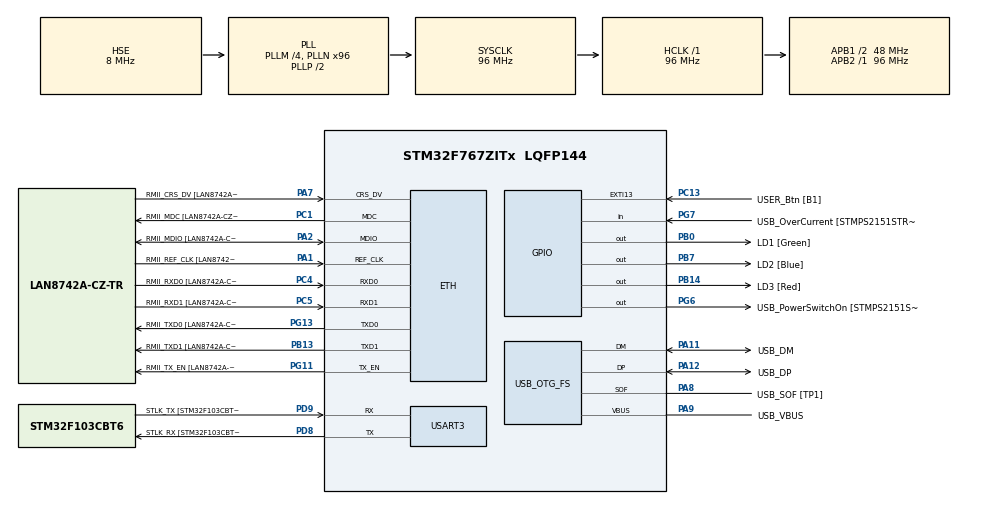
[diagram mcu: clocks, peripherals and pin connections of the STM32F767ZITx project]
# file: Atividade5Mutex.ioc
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ETH.MediaInterface=HAL_ETH_RMII_MODE
ETH.PHY_Name=LAN8742A_PHY_ADDRESS
ETH.PHY_Value=0
ETH.PhyAddress=0
FREERTOS.Mutexes01=MeuMutexHandle,Dynamic,NULL,Available
FREERTOS.Tasks01=Tarefa3Handle,24,128,Tarefa3_Handle,Default,NULL,Dynamic,NULL,NULL;Tarefa1Handle,24,128,Tarefa1_Handle,Default,NULL,Dynamic,NULL,NULL;Tarefa2Handle,24,128,Tarefa2_Handle,Default,NULL,Dynamic,NULL,NULL
FREERTOS.configUSE_NEWLIB_REENTRANT=1
Mcu.Family=STM32F7
Mcu.Name=STM32F767ZITx
Mcu.Package=LQFP144
NVIC.PriorityGroup=NVIC_PRIORITYGROUP_4
PA1.GPIO_Label=RMII_REF_CLK [LAN8742A-CZ-TR_REFCLK0]
PA1.Mode=RMII
PA1.Signal=ETH_REF_CLK
PA10.GPIO_Label=USB_ID
PA10.Signal=USB_OTG_FS_ID
PA11.GPIO_Label=USB_DM
PA11.Mode=Device_Only
PA11.Signal=USB_OTG_FS_DM
PA12.GPIO_Label=USB_DP
PA12.Mode=Device_Only
PA12.Signal=USB_OTG_FS_DP
PA13.GPIO_Label=TMS
PA13.Mode=Serial_Wire
PA13.Signal=SYS_JTMS-SWDIO
PA14.GPIO_Label=TCK
PA14.Mode=Serial_Wire
PA14.Signal=SYS_JTCK-SWCLK
PA2.GPIO_Label=RMII_MDIO [LAN8742A-CZ-TR_MDIO]
PA2.Mode=RMII
PA2.Signal=ETH_MDIO
PA7.GPIO_Label=RMII_CRS_DV [LAN8742A-CZ-TR_CRS_DV]
PA7.Mode=RMII
PA7.Signal=ETH_CRS_DV
PA8.GPIO_Label=USB_SOF [TP1]
PA8.Mode=Activate_SOF_FS
PA8.Signal=USB_OTG_FS_SOF
PA9.GPIO_Label=USB_VBUS
PA9.Mode=Activate_VBUS
PA9.Signal=USB_OTG_FS_VBUS
PB0.GPIO_Label=LD1 [Green]
PB0.Signal=GPIO_Output
PB13.GPIO_Label=RMII_TXD1 [LAN8742A-CZ-TR_TXD1]
PB13.Mode=RMII
PB13.Signal=ETH_TXD1
PB14.GPIO_Label=LD3 [Red]
PB14.Signal=GPIO_Output
PB3.GPIO_Label=SWO
PB3.Signal=SYS_JTDO-SWO
PB7.GPIO_Label=LD2 [Blue]
PB7.Signal=GPIO_Output
PC1.GPIO_Label=RMII_MDC [LAN8742A-CZ-TR_MDC]
PC1.Mode=RMII
PC1.Signal=ETH_MDC
PC13.GPIO_Label=USER_Btn [B1]
PC13.Signal=GPXTI13
PC14/OSC32_IN.Mode=LSE-External-Oscillator
PC14/OSC32_IN.Signal=RCC_OSC32_IN
PC15/OSC32_OUT.Mode=LSE-External-Oscillator
PC15/OSC32_OUT.Signal=RCC_OSC32_OUT
PC4.GPIO_Label=RMII_RXD0 [LAN8742A-CZ-TR_RXD0]
PC4.Mode=RMII
PC4.Signal=ETH_RXD0
PC5.GPIO_Label=RMII_RXD1 [LAN8742A-CZ-TR_RXD1]
PC5.Mode=RMII
PC5.Signal=ETH_RXD1
PD8.GPIO_Label=STLK_RX [STM32F103CBT6_PA3]
PD8.Mode=Asynchronous
PD8.Signal=USART3_TX
PD9.GPIO_Label=STLK_TX [STM32F103CBT6_PA2]
PD9.Mode=Asynchronous
PD9.Signal=USART3_RX
PG11.GPIO_Label=RMII_TX_EN [LAN8742A-CZ-TR_TXEN]
PG11.Mode=RMII
PG11.Signal=ETH_TX_EN
PG13.GPIO_Label=RMII_TXD0 [LAN8742A-CZ-TR_TXD0]
PG13.Mode=RMII
PG13.Signal=ETH_TXD0
PG6.GPIO_Label=USB_PowerSwitchOn [STMPS2151STR_EN]
PG6.Signal=GPIO_Output
PG7.GPIO_Label=USB_OverCurrent [STMPS2151STR_FAULT]
PG7.Signal=GPIO_Input
PH0/OSC_IN.GPIO_Label=MCO [STM32F103CBT6_PA8]
PH0/OSC_IN.Mode=HSE-External-Clock-Source
PH0/OSC_IN.Signal=RCC_OSC_IN
PH1/OSC_OUT.Mode=HSE-External-Clock-Source
PH1/OSC_OUT.Signal=RCC_OSC_OUT
ProjectManager.HeapSize=0x200
ProjectManager.StackSize=0x400
ProjectManager.TargetToolchain=STM32CubeIDE
RCC.48MHZClocksFreq_Value=24000000
RCC.AHBFreq_Value=96000000
RCC.APB1CLKDivider=RCC_HCLK_DIV2
RCC.APB1Freq_Value=48000000
RCC.APB1TimFreq_Value=96000000
RCC.APB2Freq_Value=96000000
RCC.APB2TimFreq_Value=96000000
RCC.CortexFreq_Value=96000000
RCC.HCLKFreq_Value=96000000
RCC.HSE_VALUE=8000000
RCC.HSI_VALUE=16000000
RCC.PLLM=4
RCC.PLLMUL=RCC_PLL_MUL9
RCC.PLLN=96
RCC.PLLQ=4
RCC.PRESCALERUSB=RCC_USBCLKSOURCE_PLL_DIV1_5
RCC.SYSCLKFreq_VALUE=96000000
RCC.SYSCLKSource=RCC_SYSCLKSOURCE_PLLCLK
RCC.SYSCLKSourceVirtual=RCC_SYSCLKSOURCE_PLLCLK
RCC.USBFreq_Value=48000000
RCC.VCOOutputFreq_Value=192000000
USART3.VirtualMode-Asynchronous=VM_ASYNC
USB_OTG_FS.VirtualMode=Device_Only
VP_FREERTOS_VS_CMSIS_V2.Mode=CMSIS_V2
board=NUCLEO-F767ZI

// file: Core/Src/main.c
/* USER CODE BEGIN Header */
/**
  ******************************************************************************
  * @file           : main.c
  * @brief          : Main program body
  ******************************************************************************
  * @attention
  *
  * Copyright (c) 2025 STMicroelectronics.
  * All rights reserved.
  *
  * This software is licensed under terms that can be found in the LICENSE file
  * in the root directory of this software component.
  * If no LICENSE file comes with this software, it is provided AS-IS.
  *
  ******************************************************************************
  */
/* USER CODE END Header */
#include "main.h"
#include "string.h"
#include "cmsis_os.h"

/* USER CODE BEGIN Includes */
#include <stdio.h>

/* USER CODE END Includes */

#if defined ( __ICCARM__ ) /*!< IAR Compiler */
#pragma location=0x2007c000
ETH_DMADescTypeDef  DMARxDscrTab[ETH_RX_DESC_CNT]; /* Ethernet Rx DMA Descriptors */
#pragma location=0x2007c0a0
ETH_DMADescTypeDef  DMATxDscrTab[ETH_TX_DESC_CNT]; /* Ethernet Tx DMA Descriptors */

#elif defined ( __CC_ARM )  /* MDK ARM Compiler */

__attribute__((at(0x2007c000))) ETH_DMADescTypeDef  DMARxDscrTab[ETH_RX_DESC_CNT]; /* Ethernet Rx DMA Descriptors */
__attribute__((at(0x2007c0a0))) ETH_DMADescTypeDef  DMATxDscrTab[ETH_TX_DESC_CNT]; /* Ethernet Tx DMA Descriptors */

#elif defined ( __GNUC__ ) /* GNU Compiler */

ETH_DMADescTypeDef DMARxDscrTab[ETH_RX_DESC_CNT] __attribute__((section(".RxDecripSection"))); /* Ethernet Rx DMA Descriptors */
ETH_DMADescTypeDef DMATxDscrTab[ETH_TX_DESC_CNT] __attribute__((section(".TxDecripSection")));   /* Ethernet Tx DMA Descriptors */
#endif

ETH_TxPacketConfig TxConfig;

ETH_HandleTypeDef heth;

UART_HandleTypeDef huart3;

PCD_HandleTypeDef hpcd_USB_OTG_FS;

/* Definitions for Tarefa3Handle */
osThreadId_t Tarefa3HandleHandle;
const osThreadAttr_t Tarefa3Handle_attributes = {
  .name = "Tarefa3Handle",
  .stack_size = 128 * 4,
  .priority = (osPriority_t) osPriorityNormal,
};
/* Definitions for Tarefa1Handle */
osThreadId_t Tarefa1HandleHandle;
const osThreadAttr_t Tarefa1Handle_attributes = {
  .name = "Tarefa1Handle",
  .stack_size = 128 * 4,
  .priority = (osPriority_t) osPriorityNormal,
};
/* Definitions for Tarefa2Handle */
osThreadId_t Tarefa2HandleHandle;
const osThreadAttr_t Tarefa2Handle_attributes = {
  .name = "Tarefa2Handle",
  .stack_size = 128 * 4,
  .priority = (osPriority_t) osPriorityNormal,
};
/* Definitions for MeuMutexHandle */
osMutexId_t MeuMutexHandleHandle;
const osMutexAttr_t MeuMutexHandle_attributes = {
  .name = "MeuMutexHandle"
};
/* USER CODE BEGIN PV */
int __io_putchar(int ch);

uint8_t task2Cont = 0;

/* USER CODE END PV */

void SystemClock_Config(void);
static void MX_GPIO_Init(void);
static void MX_ETH_Init(void);
static void MX_USART3_UART_Init(void);
static void MX_USB_OTG_FS_PCD_Init(void);
void Tarefa3_Handle(void *argument);
void Tarefa1_Handle(void *argument);
void Tarefa2_Handle(void *argument);

int main(void)
{

  /* MCU Configuration--------------------------------------------------------*/

  /* Reset of all peripherals, Initializes the Flash interface and the Systick. */
  HAL_Init();

  /* Configure the system clock */
  SystemClock_Config();

  /* Initialize all configured peripherals */
  MX_GPIO_Init();
  MX_ETH_Init();
  MX_USART3_UART_Init();
  MX_USB_OTG_FS_PCD_Init();

  /* Init scheduler */
  osKernelInitialize();
  /* Create the mutex(es) */
  /* creation of MeuMutexHandle */
  MeuMutexHandleHandle = osMutexNew(&MeuMutexHandle_attributes);

  /* Create the thread(s) */
  /* creation of Tarefa3Handle */
  Tarefa3HandleHandle = osThreadNew(Tarefa3_Handle, NULL, &Tarefa3Handle_attributes);

  /* creation of Tarefa1Handle */
  Tarefa1HandleHandle = osThreadNew(Tarefa1_Handle, NULL, &Tarefa1Handle_attributes);

  /* creation of Tarefa2Handle */
  Tarefa2HandleHandle = osThreadNew(Tarefa2_Handle, NULL, &Tarefa2Handle_attributes);

  /* Start scheduler */
  osKernelStart();

  /* We should never get here as control is now taken by the scheduler */

  /* Infinite loop */
  while (1)
  {

  }
}

void SystemClock_Config(void)
{
  RCC_OscInitTypeDef RCC_OscInitStruct = {0};
  RCC_ClkInitTypeDef RCC_ClkInitStruct = {0};

  /** Configure LSE Drive Capability
  */
  HAL_PWR_EnableBkUpAccess();

  /** Configure the main internal regulator output voltage
  */
  __HAL_RCC_PWR_CLK_ENABLE();
  __HAL_PWR_VOLTAGESCALING_CONFIG(PWR_REGULATOR_VOLTAGE_SCALE3);

  /** Initializes the RCC Oscillators according to the specified parameters
  * in the RCC_OscInitTypeDef structure.
  */
  RCC_OscInitStruct.OscillatorType = RCC_OSCILLATORTYPE_HSE;
  RCC_OscInitStruct.HSEState = RCC_HSE_BYPASS;
  RCC_OscInitStruct.PLL.PLLState = RCC_PLL_ON;
  RCC_OscInitStruct.PLL.PLLSource = RCC_PLLSOURCE_HSE;
  RCC_OscInitStruct.PLL.PLLM = 4;
  RCC_OscInitStruct.PLL.PLLN = 96;
  RCC_OscInitStruct.PLL.PLLP = RCC_PLLP_DIV2;
  RCC_OscInitStruct.PLL.PLLQ = 4;
  RCC_OscInitStruct.PLL.PLLR = 2;
  if (HAL_RCC_OscConfig(&RCC_OscInitStruct) != HAL_OK)
  {
    Error_Handler();
  }

  /** Activate the Over-Drive mode
  */
  if (HAL_PWREx_EnableOverDrive() != HAL_OK)
  {
    Error_Handler();
  }

  /** Initializes the CPU, AHB and APB buses clocks
  */
  RCC_ClkInitStruct.ClockType = RCC_CLOCKTYPE_HCLK|RCC_CLOCKTYPE_SYSCLK
                              |RCC_CLOCKTYPE_PCLK1|RCC_CLOCKTYPE_PCLK2;
  RCC_ClkInitStruct.SYSCLKSource = RCC_SYSCLKSOURCE_PLLCLK;
  RCC_ClkInitStruct.AHBCLKDivider = RCC_SYSCLK_DIV1;
  RCC_ClkInitStruct.APB1CLKDivider = RCC_HCLK_DIV2;
  RCC_ClkInitStruct.APB2CLKDivider = RCC_HCLK_DIV1;

  if (HAL_RCC_ClockConfig(&RCC_ClkInitStruct, FLASH_LATENCY_3) != HAL_OK)
  {
    Error_Handler();
  }
}

static void MX_ETH_Init(void)
{

   static uint8_t MACAddr[6];

  heth.Instance = ETH;
  MACAddr[0] = 0x00;
  MACAddr[1] = 0x80;
  MACAddr[2] = 0xE1;
  MACAddr[3] = 0x00;
  MACAddr[4] = 0x00;
  MACAddr[5] = 0x00;
  heth.Init.MACAddr = &MACAddr[0];
  heth.Init.MediaInterface = HAL_ETH_RMII_MODE;
  heth.Init.TxDesc = DMATxDscrTab;
  heth.Init.RxDesc = DMARxDscrTab;
  heth.Init.RxBuffLen = 1524;

  if (HAL_ETH_Init(&heth) != HAL_OK)
  {
    Error_Handler();
  }

  memset(&TxConfig, 0 , sizeof(ETH_TxPacketConfig));
  TxConfig.Attributes = ETH_TX_PACKETS_FEATURES_CSUM | ETH_TX_PACKETS_FEATURES_CRCPAD;
  TxConfig.ChecksumCtrl = ETH_CHECKSUM_IPHDR_PAYLOAD_INSERT_PHDR_CALC;
  TxConfig.CRCPadCtrl = ETH_CRC_PAD_INSERT;

}

static void MX_USART3_UART_Init(void)
{

  huart3.Instance = USART3;
  huart3.Init.BaudRate = 115200;
  huart3.Init.WordLength = UART_WORDLENGTH_8B;
  huart3.Init.StopBits = UART_STOPBITS_1;
  huart3.Init.Parity = UART_PARITY_NONE;
  huart3.Init.Mode = UART_MODE_TX_RX;
  huart3.Init.HwFlowCtl = UART_HWCONTROL_NONE;
  huart3.Init.OverSampling = UART_OVERSAMPLING_16;
  huart3.Init.OneBitSampling = UART_ONE_BIT_SAMPLE_DISABLE;
  huart3.AdvancedInit.AdvFeatureInit = UART_ADVFEATURE_NO_INIT;
  if (HAL_UART_Init(&huart3) != HAL_OK)
  {
    Error_Handler();
  }

}

static void MX_USB_OTG_FS_PCD_Init(void)
{

  hpcd_USB_OTG_FS.Instance = USB_OTG_FS;
  hpcd_USB_OTG_FS.Init.dev_endpoints = 6;
  hpcd_USB_OTG_FS.Init.speed = PCD_SPEED_FULL;
  hpcd_USB_OTG_FS.Init.dma_enable = DISABLE;
  hpcd_USB_OTG_FS.Init.phy_itface = PCD_PHY_EMBEDDED;
  hpcd_USB_OTG_FS.Init.Sof_enable = ENABLE;
  hpcd_USB_OTG_FS.Init.low_power_enable = DISABLE;
  hpcd_USB_OTG_FS.Init.lpm_enable = DISABLE;
  hpcd_USB_OTG_FS.Init.vbus_sensing_enable = ENABLE;
  hpcd_USB_OTG_FS.Init.use_dedicated_ep1 = DISABLE;
  if (HAL_PCD_Init(&hpcd_USB_OTG_FS) != HAL_OK)
  {
    Error_Handler();
  }

}

static void MX_GPIO_Init(void)
{
  GPIO_InitTypeDef GPIO_InitStruct = {0};

  /* GPIO Ports Clock Enable */
  __HAL_RCC_GPIOC_CLK_ENABLE();
  __HAL_RCC_GPIOH_CLK_ENABLE();
  __HAL_RCC_GPIOA_CLK_ENABLE();
  __HAL_RCC_GPIOB_CLK_ENABLE();
  __HAL_RCC_GPIOD_CLK_ENABLE();
  __HAL_RCC_GPIOG_CLK_ENABLE();

  /*Configure GPIO pin Output Level */
  HAL_GPIO_WritePin(GPIOB, LD1_Pin|LD3_Pin|LD2_Pin, GPIO_PIN_RESET);

  /*Configure GPIO pin Output Level */
  HAL_GPIO_WritePin(USB_PowerSwitchOn_GPIO_Port, USB_PowerSwitchOn_Pin, GPIO_PIN_RESET);

  /*Configure GPIO pin : USER_Btn_Pin */
  GPIO_InitStruct.Pin = USER_Btn_Pin;
  GPIO_InitStruct.Mode = GPIO_MODE_IT_RISING;
  GPIO_InitStruct.Pull = GPIO_NOPULL;
  HAL_GPIO_Init(USER_Btn_GPIO_Port, &GPIO_InitStruct);

  /*Configure GPIO pins : LD1_Pin LD3_Pin LD2_Pin */
  GPIO_InitStruct.Pin = LD1_Pin|LD3_Pin|LD2_Pin;
  GPIO_InitStruct.Mode = GPIO_MODE_OUTPUT_PP;
  GPIO_InitStruct.Pull = GPIO_NOPULL;
  GPIO_InitStruct.Speed = GPIO_SPEED_FREQ_LOW;
  HAL_GPIO_Init(GPIOB, &GPIO_InitStruct);

  /*Configure GPIO pin : USB_PowerSwitchOn_Pin */
  GPIO_InitStruct.Pin = USB_PowerSwitchOn_Pin;
  GPIO_InitStruct.Mode = GPIO_MODE_OUTPUT_PP;
  GPIO_InitStruct.Pull = GPIO_NOPULL;
  GPIO_InitStruct.Speed = GPIO_SPEED_FREQ_LOW;
  HAL_GPIO_Init(USB_PowerSwitchOn_GPIO_Port, &GPIO_InitStruct);

  /*Configure GPIO pin : USB_OverCurrent_Pin */
  GPIO_InitStruct.Pin = USB_OverCurrent_Pin;
  GPIO_InitStruct.Mode = GPIO_MODE_INPUT;
  GPIO_InitStruct.Pull = GPIO_NOPULL;
  HAL_GPIO_Init(USB_OverCurrent_GPIO_Port, &GPIO_InitStruct);

}

/* USER CODE BEGIN 4 */
int __io_putchar(int ch) {
    HAL_UART_Transmit(&huart3, (uint8_t *)&ch, 1, HAL_MAX_DELAY);
    return ch;
}

/* USER CODE END 4 */

void Tarefa3_Handle(void *argument)
{
  /* USER CODE BEGIN 5 */
  /* Infinite loop */
  for(;;)
  {

	if(osMutexAcquire(MeuMutexHandleHandle, 2000) != osOK){
		printf("Tarefa 3: esperando mutex por tempo excessivo.\n");
		HAL_GPIO_TogglePin(GPIOB, LD3_Pin);
	}else{
		HAL_GPIO_TogglePin(GPIOB, LD3_Pin);
		printf("Tarefa 3 Pegou o Mutex !\n");
		osMutexRelease(MeuMutexHandleHandle);
	}
    osDelay(1000);
  }
  /* USER CODE END 5 */
}

void Tarefa1_Handle(void *argument)
{
  /* USER CODE BEGIN Tarefa1_Handle */
  /* Infinite loop */
  for(;;)
  {
	osMutexAcquire(MeuMutexHandleHandle, osWaitForever);
	HAL_GPIO_TogglePin(GPIOB, LD1_Pin);
	printf("Tarefa 1 Pegou o Mutex !\n");
    osDelay(1000);
    osMutexRelease(MeuMutexHandleHandle);
  }
  /* USER CODE END Tarefa1_Handle */
}

void Tarefa2_Handle(void *argument)
{
  /* USER CODE BEGIN Tarefa2_Handle */
  /* Infinite loop */
  for(;;)
  {

	osMutexAcquire(MeuMutexHandleHandle, osWaitForever);
	for(int i = 0; i < 3; i++){
		printf("Tarefa 2: Utilizando o Mutex Pela %iº vez\n",task2Cont);
		HAL_GPIO_TogglePin(GPIOB, LD2_Pin);
	}

	osMutexRelease(MeuMutexHandleHandle);

    osDelay(1000);
  }
  /* USER CODE END Tarefa2_Handle */
}

void Error_Handler(void)
{
  __disable_irq();
  while (1)
  {
  }
}
